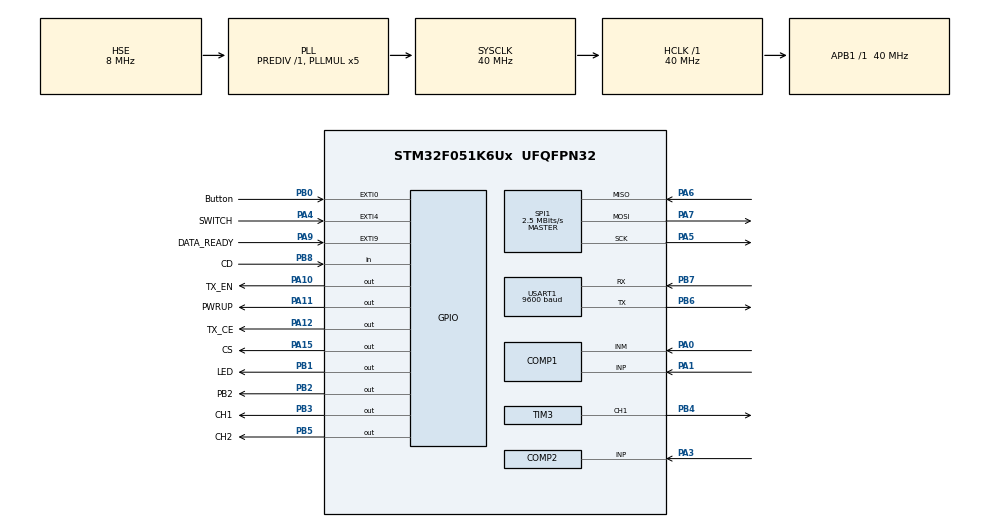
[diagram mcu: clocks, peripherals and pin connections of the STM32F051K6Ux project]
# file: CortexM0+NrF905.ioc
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Mcu.Family=STM32F0
PA6.Mode=Full_Duplex_Master
RTC.Alarm=RTC_ALARM_A
SPI1.VirtualType=VM_MASTER
USART1.BaudRate=9600
VP_RTC_VS_RTC_Activate.Mode=RTC_Enabled
PB0.GPIO_Label=Button
VP_RTC_VS_RTC_Alarm_A_Intern.Mode=Alarm A
RCC.SYSCLKSource=RCC_SYSCLKSOURCE_PLLCLK
ProjectManager.StackSize=0x400
NVIC.RTC_IRQn=true\:0\:0\:false\:false\:true\:true\:true
PA15.GPIO_Label=CS
PA12.Signal=GPIO_Output
SPI1.Direction=SPI_DIRECTION_2LINES
RCC.HCLKFreq_Value=40000000
PB6.Signal=USART1_TX
PB6.Mode=Asynchronous
SPI1.CalculateBaudRate=2.5 MBits/s
RCC.AHBFreq_Value=40000000
TIM3.Channel-PWM\ Generation1\ CH1=TIM_CHANNEL_1
PA4.GPIO_PuPd=GPIO_PULLUP
PB2.Signal=GPIO_Output
RCC.PLLMUL=RCC_PLL_MUL5
PB0.GPIO_ModeDefaultEXTI=GPIO_MODE_IT_FALLING
PB1.GPIO_Label=LED
SPI1.DataSize=SPI_DATASIZE_8BIT
PA10.GPIO_Label=TX_EN
PA0.Mode=INM
PB7.Signal=USART1_RX
SH.S_TIM3_CH1.0=TIM3_CH1,PWM Generation1 CH1
PA0.Signal=COMP1_INM
Mcu.Package=UFQFPN32
PB1.Signal=GPIO_Output
PA6.Signal=SPI1_MISO
RTC.AlarmMask=RTC_ALARMMASK_DATEWEEKDAY
PA10.Signal=GPIO_Output
VP_RTC_VS_RTC_Calendar.Mode=RTC_Calendar
PA15.Signal=GPIO_Output
PB5.GPIO_Label=CH2
VP_COMP2_VS_VREFINT14.Mode=VREFINT_14
RCC.APB1TimFreq_Value=40000000
PF1-OSC_OUT.Mode=HSE-External-Oscillator
SPI1.BaudRatePrescaler=SPI_BAUDRATEPRESCALER_16
PA4.GPIO_Label=SWITCH
RTC.Seconds_A=30
PF1-OSC_OUT.Signal=RCC_OSC_OUT
NVIC.EXTI4_15_IRQn=true\:0\:0\:false\:false\:true\:true\:true
PB4.Signal=S_TIM3_CH1
PA3.Signal=COMP2_INP
PA5.Mode=Full_Duplex_Master
PB3.GPIO_Label=CH1
RCC.PLLSourceVirtual=RCC_PLLSOURCE_HSE
PA7.Mode=Full_Duplex_Master
PA9.GPIO_Label=DATA_READY
PA11.GPIO_Label=PWRUP
COMP2.InvertingInput=COMP_INVERTINGINPUT_1_4VREFINT
PA12.GPIO_Label=TX_CE
USART1.VirtualMode-Asynchronous=VM_ASYNC
PA3.Mode=INP
PB8.GPIO_Label=CD
ProjectManager.TargetToolchain=EWARM V7
RCC.HSIState=RCC_HSI_ON
PA9.Signal=GPXTI9
PA4.GPIO_ModeDefaultEXTI=GPIO_MODE_IT_FALLING
PA1.Signal=COMP1_INP
PF0-OSC_IN.Mode=HSE-External-Oscillator
PA5.Signal=SPI1_SCK
board=CortexM0+NrF905
PA1.Mode=INP
SPI1.Mode=SPI_MODE_MASTER
Mcu.Name=STM32F051K6Ux
SPI1.NSSPMode=SPI_NSS_PULSE_DISABLE
PA2.Signal=COMP2_INM
PB3.Signal=GPIO_Output
PA4.Signal=GPXTI4
RCC.SYSCLKFreq_VALUE=40000000
PB5.Signal=GPIO_Output
PB7.Mode=Asynchronous
PA11.Signal=GPIO_Output
PB2.GPIO_Label=PB2
ProjectManager.HeapSize=0x200
PB8.Signal=GPIO_Input
COMP2.TriggerMode=COMP_TRIGGERMODE_IT_RISING
PF0-OSC_IN.Signal=RCC_OSC_IN
RCC.APB1Freq_Value=40000000
PB0.Signal=GPXTI0
NVIC.ADC1_COMP_IRQn=true\:0\:0\:false\:false\:true\:false\:true
PB0.GPIO_PuPd=GPIO_PULLUP
PA7.Signal=SPI1_MOSI
NVIC.EXTI0_1_IRQn=true\:0\:0\:false\:false\:true\:true\:true

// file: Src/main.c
/* USER CODE BEGIN Header */
/**
  ******************************************************************************
  * @file           : main.c
  * @brief          : Main program body
  ******************************************************************************
  * @attention
  *
  * <h2><center>&copy; Copyright (c) 2019 STMicroelectronics.
  * All rights reserved.</center></h2>
  *
  * This software component is licensed by ST under BSD 3-Clause license,
  * the "License"; You may not use this file except in compliance with the
  * License. You may obtain a copy of the License at:
  *                        opensource.org/licenses/BSD-3-Clause
  *
  ******************************************************************************
  */
/* USER CODE END Header */

#include "main.h"

/* USER CODE BEGIN Includes */
#include "nrf905_driver.h"
#include "gate_protocol.h"
#include "ext_irq.h"
#include "timer.h"
#include "host_protocol.h"
/* USER CODE END Includes */

COMP_HandleTypeDef hcomp1;
COMP_HandleTypeDef hcomp2;

RTC_HandleTypeDef hrtc;

SPI_HandleTypeDef hspi1;

TIM_HandleTypeDef htim3;

UART_HandleTypeDef huart1;

/* USER CODE BEGIN PV */
/* Private variables ---------------------------------------------------------*/

/* USER CODE END PV */

void SystemClock_Config(void);
static void MX_GPIO_Init(void);
static void MX_RTC_Init(void);
static void MX_SPI1_Init(void);
static void MX_TIM3_Init(void);
static void MX_COMP1_Init(void);
static void MX_COMP2_Init(void);
static void MX_USART1_UART_Init(void);
/* USER CODE BEGIN PFP */
char timeout_flag=0;
/* Private function prototypes -----------------------------------------------*/

/* USER CODE END PFP */

int main(void)
{
  /* USER CODE BEGIN 1 */
   volatile char rc,a;
   char str[64];
   char rx_data[64];
   char i=0x30;
   unsigned char bat_state =0;
   unsigned int ex_voltage;
   int temp;
  /* USER CODE END 1 */

  /* MCU Configuration--------------------------------------------------------*/

  /* Reset of all peripherals, Initializes the Flash interface and the Systick. */
  HAL_Init();

  /* Configure the system clock */
  SystemClock_Config();

  /* Initialize all configured peripherals */
  MX_GPIO_Init();
  MX_RTC_Init();
  MX_SPI1_Init();
  MX_TIM3_Init();
  MX_COMP1_Init();
  MX_COMP2_Init();
  MX_USART1_UART_Init();

  /* Infinite loop */
  /* USER CODE BEGIN WHILE */
  for (int i=0; i<0xFFFFFF; i++);

   Nrf905Init(0x6C);
   sprintf(str, "iam%c%cnbt                        \n",ADDR,DEV_TYPE );
    TransmitMultiPacket(str,32);

  while (1)
  {

   HAL_PWR_EnterSTOPMode(PWR_LOWPOWERREGULATOR_ON, PWR_STOPENTRY_WFI);
   SystemClock_Config();
   for (int i=0; i<0xFFFF; i++);

   ResetSensorCounter();
   HAL_GPIO_WritePin( PB2_GPIO_Port, PB2_Pin, GPIO_PIN_SET);
   HAL_COMP_Start_IT(&hcomp2);
   HAL_COMP_Start(&hcomp1);

   SetTimer(100);
   while (GetTimer()>0);
   HAL_COMP_Stop_IT(&hcomp2);

   int comp_counter = GetSensorCounter();

   char bat_status;
   if (HAL_COMP_GetOutputLevel(&hcomp1)==COMP_OUTPUTLEVEL_LOW) bat_status = 0;
   else bat_status = 1;

   HAL_COMP_Stop(&hcomp1);

   HAL_GPIO_WritePin( PB2_GPIO_Port, PB2_Pin, GPIO_PIN_RESET);

   PowerUpMode();
   ReceiveMode();
   if (GetDoorSensorState())    {
     sprintf(str, "iam%c%cdoor\n",ADDR,DEV_TYPE );
   }
   if (GetButtonState())        {
     sprintf(str, "iam%c%cbutton\n",ADDR,DEV_TYPE );
   }
   float temperature = 0.0625*(float)comp_counter - 50.0;
   temp = (int)temperature;
   if (timeout_flag) {
     if(bat_status)sprintf(str, "iam%c%cnbt %d \n",ADDR,DEV_TYPE,temp);
     else sprintf(str, "iam%c%clbt %d \n",ADDR,DEV_TYPE,temp);
     timeout_flag =0;
   }
   HAL_GPIO_WritePin( LED_GPIO_Port, LED_Pin, GPIO_PIN_SET);
   TransmitMultiPacket(str, 32);
   ReceiveMode();
   SetTimer(300);
   while(GetTimer()>0){
     if (GetDataFromAir(rx_data))        {

       if (rx_data[0]==ADDR)      {

         HostCommandParcer (&rx_data[1],str);
         TransmitMultiPacket(str, 32);

       }
       ClearDataFromHost();
       break;
     }
   }

   ReceiveMode();
   PowerDownMode();
   MX_RTC_Init();
   SetTimer(1000);
   while(GetTimer()>0)
   {
     ;
   }
   HAL_GPIO_WritePin( LED_GPIO_Port, LED_Pin, GPIO_PIN_RESET);
 //  SetTimer(10000);
  // while(GetTimer()>0);

    /* USER CODE END WHILE */

  }
}

void SystemClock_Config(void)
{
  RCC_OscInitTypeDef RCC_OscInitStruct = {0};
  RCC_ClkInitTypeDef RCC_ClkInitStruct = {0};
  RCC_PeriphCLKInitTypeDef PeriphClkInit = {0};

  /** Initializes the CPU, AHB and APB busses clocks
  */
  RCC_OscInitStruct.OscillatorType = RCC_OSCILLATORTYPE_LSI|RCC_OSCILLATORTYPE_HSE;
  RCC_OscInitStruct.HSEState = RCC_HSE_ON;
  RCC_OscInitStruct.LSIState = RCC_LSI_ON;
  RCC_OscInitStruct.PLL.PLLState = RCC_PLL_ON;
  RCC_OscInitStruct.PLL.PLLSource = RCC_PLLSOURCE_HSE;
  RCC_OscInitStruct.PLL.PLLMUL = RCC_PLL_MUL5;
  RCC_OscInitStruct.PLL.PREDIV = RCC_PREDIV_DIV1;
  if (HAL_RCC_OscConfig(&RCC_OscInitStruct) != HAL_OK)
  {
    Error_Handler();
  }
  /** Initializes the CPU, AHB and APB busses clocks
  */
  RCC_ClkInitStruct.ClockType = RCC_CLOCKTYPE_HCLK|RCC_CLOCKTYPE_SYSCLK
                              |RCC_CLOCKTYPE_PCLK1;
  RCC_ClkInitStruct.SYSCLKSource = RCC_SYSCLKSOURCE_PLLCLK;
  RCC_ClkInitStruct.AHBCLKDivider = RCC_SYSCLK_DIV1;
  RCC_ClkInitStruct.APB1CLKDivider = RCC_HCLK_DIV1;

  if (HAL_RCC_ClockConfig(&RCC_ClkInitStruct, FLASH_LATENCY_1) != HAL_OK)
  {
    Error_Handler();
  }
  PeriphClkInit.PeriphClockSelection = RCC_PERIPHCLK_USART1|RCC_PERIPHCLK_RTC;
  PeriphClkInit.Usart1ClockSelection = RCC_USART1CLKSOURCE_PCLK1;
  PeriphClkInit.RTCClockSelection = RCC_RTCCLKSOURCE_LSI;
  if (HAL_RCCEx_PeriphCLKConfig(&PeriphClkInit) != HAL_OK)
  {
    Error_Handler();
  }
}

static void MX_COMP1_Init(void)
{

  hcomp1.Instance = COMP1;
  hcomp1.Init.InvertingInput = COMP_INVERTINGINPUT_IO1;
  hcomp1.Init.NonInvertingInput = COMP_NONINVERTINGINPUT_IO1;
  hcomp1.Init.Output = COMP_OUTPUT_NONE;
  hcomp1.Init.OutputPol = COMP_OUTPUTPOL_NONINVERTED;
  hcomp1.Init.Hysteresis = COMP_HYSTERESIS_NONE;
  hcomp1.Init.Mode = COMP_MODE_HIGHSPEED;
  hcomp1.Init.WindowMode = COMP_WINDOWMODE_DISABLE;
  hcomp1.Init.TriggerMode = COMP_TRIGGERMODE_NONE;
  if (HAL_COMP_Init(&hcomp1) != HAL_OK)
  {
    Error_Handler();
  }

}

static void MX_COMP2_Init(void)
{

  hcomp2.Instance = COMP2;
  hcomp2.Init.InvertingInput = COMP_INVERTINGINPUT_1_4VREFINT;
  hcomp2.Init.NonInvertingInput = COMP_NONINVERTINGINPUT_IO1;
  hcomp2.Init.Output = COMP_OUTPUT_NONE;
  hcomp2.Init.OutputPol = COMP_OUTPUTPOL_NONINVERTED;
  hcomp2.Init.Hysteresis = COMP_HYSTERESIS_NONE;
  hcomp2.Init.Mode = COMP_MODE_HIGHSPEED;
  hcomp2.Init.WindowMode = COMP_WINDOWMODE_DISABLE;
  hcomp2.Init.TriggerMode = COMP_TRIGGERMODE_IT_RISING;
  if (HAL_COMP_Init(&hcomp2) != HAL_OK)
  {
    Error_Handler();
  }

}

static void MX_RTC_Init(void)
{

  RTC_TimeTypeDef sTime = {0};
  RTC_DateTypeDef sDate = {0};
  RTC_AlarmTypeDef sAlarm = {0};

  /** Initialize RTC Only
  */
  hrtc.Instance = RTC;
  hrtc.Init.HourFormat = RTC_HOURFORMAT_24;
  hrtc.Init.AsynchPrediv = 127;
  hrtc.Init.SynchPrediv = 255;
  hrtc.Init.OutPut = RTC_OUTPUT_DISABLE;
  hrtc.Init.OutPutPolarity = RTC_OUTPUT_POLARITY_HIGH;
  hrtc.Init.OutPutType = RTC_OUTPUT_TYPE_OPENDRAIN;
  if (HAL_RTC_Init(&hrtc) != HAL_OK)
  {
    Error_Handler();
  }

  /** Initialize RTC and set the Time and Date
  */
  sTime.Hours = 0x0;
  sTime.Minutes = 0x0;
  sTime.Seconds = 0x0;
  sTime.DayLightSaving = RTC_DAYLIGHTSAVING_NONE;
  sTime.StoreOperation = RTC_STOREOPERATION_RESET;
  if (HAL_RTC_SetTime(&hrtc, &sTime, RTC_FORMAT_BCD) != HAL_OK)
  {
    Error_Handler();
  }
  sDate.WeekDay = RTC_WEEKDAY_MONDAY;
  sDate.Month = RTC_MONTH_JANUARY;
  sDate.Date = 0x1;
  sDate.Year = 0x0;

  if (HAL_RTC_SetDate(&hrtc, &sDate, RTC_FORMAT_BCD) != HAL_OK)
  {
    Error_Handler();
  }
  /** Enable the Alarm A
  */
  sAlarm.AlarmTime.Hours = 0x0;
  sAlarm.AlarmTime.Minutes = 0x03;
  sAlarm.AlarmTime.Seconds = 0x0;
  sAlarm.AlarmTime.SubSeconds = 0x0;
  sAlarm.AlarmTime.DayLightSaving = RTC_DAYLIGHTSAVING_NONE;
  sAlarm.AlarmTime.StoreOperation = RTC_STOREOPERATION_RESET;
  sAlarm.AlarmMask = RTC_ALARMMASK_DATEWEEKDAY;
  sAlarm.AlarmSubSecondMask = RTC_ALARMSUBSECONDMASK_ALL;
  sAlarm.AlarmDateWeekDaySel = RTC_ALARMDATEWEEKDAYSEL_DATE;
  sAlarm.AlarmDateWeekDay = 0x1;
  sAlarm.Alarm = RTC_ALARM_A;
  if (HAL_RTC_SetAlarm_IT(&hrtc, &sAlarm, RTC_FORMAT_BCD) != HAL_OK)
  {
    Error_Handler();
  }

}

static void MX_SPI1_Init(void)
{

  /* SPI1 parameter configuration*/
  hspi1.Instance = SPI1;
  hspi1.Init.Mode = SPI_MODE_MASTER;
  hspi1.Init.Direction = SPI_DIRECTION_2LINES;
  hspi1.Init.DataSize = SPI_DATASIZE_8BIT;
  hspi1.Init.CLKPolarity = SPI_POLARITY_LOW;
  hspi1.Init.CLKPhase = SPI_PHASE_1EDGE;
  hspi1.Init.NSS = SPI_NSS_SOFT;
  hspi1.Init.BaudRatePrescaler = SPI_BAUDRATEPRESCALER_16;
  hspi1.Init.FirstBit = SPI_FIRSTBIT_MSB;
  hspi1.Init.TIMode = SPI_TIMODE_DISABLE;
  hspi1.Init.CRCCalculation = SPI_CRCCALCULATION_DISABLE;
  hspi1.Init.CRCPolynomial = 7;
  hspi1.Init.CRCLength = SPI_CRC_LENGTH_DATASIZE;
  hspi1.Init.NSSPMode = SPI_NSS_PULSE_DISABLE;
  if (HAL_SPI_Init(&hspi1) != HAL_OK)
  {
    Error_Handler();
  }

}

static void MX_TIM3_Init(void)
{

  TIM_MasterConfigTypeDef sMasterConfig = {0};
  TIM_OC_InitTypeDef sConfigOC = {0};

  htim3.Instance = TIM3;
  htim3.Init.Prescaler = 0;
  htim3.Init.CounterMode = TIM_COUNTERMODE_UP;
  htim3.Init.Period = 0;
  htim3.Init.ClockDivision = TIM_CLOCKDIVISION_DIV1;
  htim3.Init.AutoReloadPreload = TIM_AUTORELOAD_PRELOAD_DISABLE;
  if (HAL_TIM_PWM_Init(&htim3) != HAL_OK)
  {
    Error_Handler();
  }
  sMasterConfig.MasterOutputTrigger = TIM_TRGO_RESET;
  sMasterConfig.MasterSlaveMode = TIM_MASTERSLAVEMODE_DISABLE;
  if (HAL_TIMEx_MasterConfigSynchronization(&htim3, &sMasterConfig) != HAL_OK)
  {
    Error_Handler();
  }
  sConfigOC.OCMode = TIM_OCMODE_PWM1;
  sConfigOC.Pulse = 0;
  sConfigOC.OCPolarity = TIM_OCPOLARITY_HIGH;
  sConfigOC.OCFastMode = TIM_OCFAST_DISABLE;
  if (HAL_TIM_PWM_ConfigChannel(&htim3, &sConfigOC, TIM_CHANNEL_1) != HAL_OK)
  {
    Error_Handler();
  }
  HAL_TIM_MspPostInit(&htim3);

}

static void MX_USART1_UART_Init(void)
{

  huart1.Instance = USART1;
  huart1.Init.BaudRate = 9600;
  huart1.Init.WordLength = UART_WORDLENGTH_8B;
  huart1.Init.StopBits = UART_STOPBITS_1;
  huart1.Init.Parity = UART_PARITY_NONE;
  huart1.Init.Mode = UART_MODE_TX_RX;
  huart1.Init.HwFlowCtl = UART_HWCONTROL_NONE;
  huart1.Init.OverSampling = UART_OVERSAMPLING_16;
  huart1.Init.OneBitSampling = UART_ONE_BIT_SAMPLE_DISABLE;
  huart1.AdvancedInit.AdvFeatureInit = UART_ADVFEATURE_NO_INIT;
  if (HAL_UART_Init(&huart1) != HAL_OK)
  {
    Error_Handler();
  }

}

static void MX_GPIO_Init(void)
{
  GPIO_InitTypeDef GPIO_InitStruct = {0};

  /* GPIO Ports Clock Enable */
  __HAL_RCC_GPIOF_CLK_ENABLE();
  __HAL_RCC_GPIOA_CLK_ENABLE();
  __HAL_RCC_GPIOB_CLK_ENABLE();

  /*Configure GPIO pin Output Level */
  HAL_GPIO_WritePin(GPIOB, LED_Pin|PB2_Pin|CH1_Pin|CH2_Pin, GPIO_PIN_RESET);

  /*Configure GPIO pin Output Level */
  HAL_GPIO_WritePin(GPIOA, TX_EN_Pin|PWRUP_Pin|TX_CE_Pin|CS_Pin, GPIO_PIN_RESET);

  /*Configure GPIO pin : SWITCH_Pin */
  GPIO_InitStruct.Pin = SWITCH_Pin;
  GPIO_InitStruct.Mode = GPIO_MODE_IT_FALLING;
  GPIO_InitStruct.Pull = GPIO_PULLUP;
  HAL_GPIO_Init(SWITCH_GPIO_Port, &GPIO_InitStruct);

  /*Configure GPIO pin : Button_Pin */
  GPIO_InitStruct.Pin = Button_Pin;
  GPIO_InitStruct.Mode = GPIO_MODE_IT_FALLING;
  GPIO_InitStruct.Pull = GPIO_PULLUP;
  HAL_GPIO_Init(Button_GPIO_Port, &GPIO_InitStruct);

  /*Configure GPIO pins : LED_Pin PB2_Pin CH1_Pin CH2_Pin */
  GPIO_InitStruct.Pin = LED_Pin|PB2_Pin|CH1_Pin|CH2_Pin;
  GPIO_InitStruct.Mode = GPIO_MODE_OUTPUT_PP;
  GPIO_InitStruct.Pull = GPIO_NOPULL;
  GPIO_InitStruct.Speed = GPIO_SPEED_FREQ_LOW;
  HAL_GPIO_Init(GPIOB, &GPIO_InitStruct);

  /*Configure GPIO pin : DATA_READY_Pin */
  GPIO_InitStruct.Pin = DATA_READY_Pin;
  GPIO_InitStruct.Mode = GPIO_MODE_IT_RISING;
  GPIO_InitStruct.Pull = GPIO_NOPULL;
  HAL_GPIO_Init(DATA_READY_GPIO_Port, &GPIO_InitStruct);

  /*Configure GPIO pins : TX_EN_Pin PWRUP_Pin TX_CE_Pin CS_Pin */
  GPIO_InitStruct.Pin = TX_EN_Pin|PWRUP_Pin|TX_CE_Pin|CS_Pin;
  GPIO_InitStruct.Mode = GPIO_MODE_OUTPUT_PP;
  GPIO_InitStruct.Pull = GPIO_NOPULL;
  GPIO_InitStruct.Speed = GPIO_SPEED_FREQ_LOW;
  HAL_GPIO_Init(GPIOA, &GPIO_InitStruct);

  /*Configure GPIO pin : CD_Pin */
  GPIO_InitStruct.Pin = CD_Pin;
  GPIO_InitStruct.Mode = GPIO_MODE_INPUT;
  GPIO_InitStruct.Pull = GPIO_NOPULL;
  HAL_GPIO_Init(CD_GPIO_Port, &GPIO_InitStruct);

  /* EXTI interrupt init*/
  HAL_NVIC_SetPriority(EXTI0_1_IRQn, 0, 0);
  HAL_NVIC_EnableIRQ(EXTI0_1_IRQn);

  HAL_NVIC_SetPriority(EXTI4_15_IRQn, 0, 0);
  HAL_NVIC_EnableIRQ(EXTI4_15_IRQn);

}

void Error_Handler(void)
{
}

/************************ (C) COPYRIGHT STMicroelectronics *****END OF FILE****/
